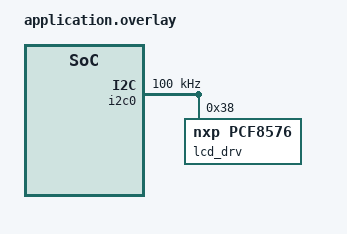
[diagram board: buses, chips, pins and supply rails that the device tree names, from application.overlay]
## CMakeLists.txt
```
cmake_minimum_required(VERSION 3.20.0)
if (NOT CMAKE_BUILD_TYPE)
    set(CMAKE_BUILD_TYPE ZDebug)
endif()
# Point to the build type-specific config file
set(CONF_FILE "prj.${CMAKE_BUILD_TYPE}.conf")

list(APPEND ZEPHYR_EXTRA_MODULES  ${CMAKE_CURRENT_SOURCE_DIR}/lcd)

set(DTC_OVERLAY_FILE  "application.overlay lcd.overlay")

find_package(Zephyr REQUIRED HINTS $ENV{ZEPHYR_BASE})

project(lcdtest)

target_sources(app PRIVATE src/main.c)
```

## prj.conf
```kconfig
CONFIG_I2C=y
CONFIG_LCD=y
CONFIG_PCF8576=y
#CONFIG_ZTEST=y
CONFIG_ZTEST_NEW_API=y
```

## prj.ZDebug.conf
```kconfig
CONFIG_I2C=y
CONFIG_LCD=y
CONFIG_PCF8576=y
#CONFIG_ZTEST=y
#CONFIG_ZTEST_NEW_API=y
CONFIG_UART_CONSOLE=y
# Optimize for debug
CONFIG_DEBUG_OPTIMIZATIONS=y
CONFIG_LOG=y
```

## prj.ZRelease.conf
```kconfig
CONFIG_I2C=y
CONFIG_LCD=y
CONFIG_PCF8576=y
#CONFIG_ZTEST=y
#CONFIG_ZTEST_NEW_API=y
#CONFIG_UART_CONSOLE=y
# Optimize for speed. See https://docs.zephyrproject.org/latest/reference/kconfig/choice_471.html#choice-471 for other options
CONFIG_SPEED_OPTIMIZATIONS=y
# Disable assertions in the Zephyr Kernel. Improves execution speed and prevents a CMake configure warning. See https://docs.zephyrproject.org/latest/reference/kconfig/CONFIG_ASSERT.html
CONFIG_ASSERT=n
```

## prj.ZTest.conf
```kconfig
CONFIG_I2C=y
CONFIG_LCD=y
CONFIG_PCF8576=y
CONFIG_ZTEST=y
CONFIG_ZTEST_NEW_API=y
CONFIG_UART_CONSOLE=y
# Optimize for debug
CONFIG_DEBUG_OPTIMIZATIONS=y
```

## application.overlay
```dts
/ {
    lcd_display: lcd{
        compatible = "lcd-lowsegment";
    };
};

&i2c0 { /* SDA P0.26, SCL P0.27*/
    clock-frequency = <I2C_BITRATE_STANDARD>;
    lcd_drv: pcf8576@38 {
        compatible = "nxp,pcf8576";
        reg = <0x38>;
        backplane-mux = <4>;
        powersave-mode;
        lcd-bias = "1_3";
        sub-address = <0>;
        lcd = <&lcd_display>;
    };
};
```

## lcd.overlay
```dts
&lcd_display {
  seg_1a: s1  { segment = <3 1>; };
  seg_1b: s2  { segment = <2 1>; };
  seg_1c: s3  { segment = <1 1>; };
  seg_1d: s4  { segment = <0 0>; };
  seg_1e: s5  { segment = <1 0>; };
  seg_1f: s6  { segment = <3 0>; };
  seg_1g: s7  { segment = <2 0>; }; 
  seg_1dp:s8  { segment = <0 1>; };
  
  seg_2a: s9  { segment = <3 3>; };
  seg_2b: s10 { segment = <2 3>; };
  seg_2c: s11 { segment = <1 3>; };
  seg_2d: s12 { segment = <0 2>; };
  seg_2e: s13 { segment = <1 2>; };
  seg_2f: s14 { segment = <3 2>; };
  seg_2g: s15 { segment = <2 2>; };
  seg_2dp:s16 { segment = <0 3>; };
 
  seg_3a: s17 { segment = <3 5>; };
  seg_3b: s18 { segment = <2 5>; };
  seg_3c: s19 { segment = <1 5>; };
  seg_3d: s20 { segment = <0 4>; };
  seg_3e: s21 { segment = <1 4>; };
  seg_3f: s22 { segment = <3 4>; };
  seg_3g: s23 { segment = <2 4>; };
  seg_3dp:s24 { segment = <0 5>; };
  
  seg_4a: s25 { segment = <3 7>; };
  seg_4b: s26 { segment = <2 7>; };
  seg_4c: s27 { segment = <1 7>; };
  seg_4d: s28 { segment = <0 6>; };
  seg_4e: s29 { segment = <1 6>; };
  seg_4f: s30 { segment = <3 6>; };
  seg_4g: s31 { segment = <2 6>; };   
    
  seg_5a: s45{ segment = <0 23>; };
  seg_5b: s46{ segment = <1 23>; };
  seg_5c: s47{ segment = <2 23>; };
  seg_5d: s48{ segment = <3 24>; };
  seg_5e: s49{ segment = <2 24>; };
  seg_5f: s50{ segment = <0 24>; };
  seg_5g: s51{ segment = <1 24>; };
  seg_5dp:s52{ segment = <3 23>; };
  
  seg_6a: s53 { segment = <0 21>; };
  seg_6b: s54 { segment = <1 21>; };
  seg_6c: s55 { segment = <2 21>; };
  seg_6d: s56 { segment = <3 22>; };
  seg_6e: s57 { segment = <2 22>; };
  seg_6f: s58 { segment = <0 22>; };
  seg_6g: s59 { segment = <1 22>; };
  seg_6dp:s60 { segment = <3 21>; };
  
  seg_7a: s61 { segment = <0 19>; };
  seg_7b: s62 { segment = <1 19>; };
  seg_7c: s63 { segment = <2 19>; };
  seg_7d: s64 { segment = <3 20>; };
  seg_7e: s65 { segment = <2 20>; };
  seg_7f: s66 { segment = <0 20>; };
  seg_7g: s67 { segment = <1 20>; };
  seg_7dp:s68 { segment = <3 19>; };
  
  seg_8a: s69 { segment = <0 15>; };
  seg_8b: s70 { segment = <1 15>; };
  seg_8c: s71 { segment = <2 15>; };
  seg_8d: s72 { segment = <3 16>; };
  seg_8e: s73 { segment = <2 16>; };
  seg_8f: s74 { segment = <0 16>; };
  seg_8g: s75 { segment = <1 16>; };
  seg_8dp:s76 { segment = <3 15>; };
  
  seg_9a: s77 { segment = <0 13>; };
  seg_9b: s78 { segment = <1 13>; };
  seg_9c: s79 { segment = <2 13>; };
  seg_9d: s80 { segment = <3 14>; };
  seg_9e: s81 { segment = <2 14>; };
  seg_9f: s82 { segment = <0 14>; };
  seg_9g: s83 { segment = <1 14>; };
  seg_9dp:s84 { segment = <3 13>; };
  
  seg_10a: s85  { segment = <0 11>; };
  seg_10b: s86  { segment = <1 11>; };
  seg_10c: s87  { segment = <2 11>; };
  seg_10d: s88  { segment = <3 12>; };
  seg_10e: s89  { segment = <2 12>; };
  seg_10f: s90  { segment = <0 12>; };
  seg_10g: s91  { segment = <1 12>; };

  seg_col1: s32{ segment = <0 7>; };
  seg_col2: s33{ segment = <0 8>; };
  seg_col3: s34{ segment = <1 8>; };
  
  seg_t1: s35{ segment = <2 8>; };
  
  seg_w1: s36{ segment = <3 8>; };
  seg_w2: s37{ segment = <3 9>; };
  seg_w3: s38{ segment = <2 9>; };
  seg_w4: s39{ segment = <1 9>; };
  seg_w5: s40{ segment = <0 9>; };
  
  seg_l1: s41{ segment = <0 10>; };
  seg_l2: s42{ segment = <1 10>; };
  seg_l3: s43{ segment = <2 10>; };
  seg_l4: s44{ segment = <3 10>; };

  seg_s1: s92   { segment = <3 18>; };
  seg_s2: s93   { segment = <2 18>; };
  seg_s3: s94   { segment = <1 18>; };
  seg_s4: s95   { segment = <0 18>; };
  seg_s5: s96   { segment = <0 17>; };
  seg_s6: s97   { segment = <1 17>; };
  seg_s7: s98   { segment = <2 17>; };
  seg_s8: s99   { segment = <3 17>; };
  seg_s9: s100  { segment = <3 11>; };
  
  seg_dp_none: s999  { segment = <0 40>; }; //40 is out of the normal range 0..39
  
  sign_defs:    sig  { compatible = "lcd-sign"; 
                        sign_repair:          sig1 { sign = <&seg_t1>;};
                        sign_col_s:           sig2 { sign = <&seg_col1>;};
                        sign_col_l1:          sig3 { sign = <&seg_col2>;};
                        sign_col_l2:          sig4 { sign = <&seg_col3>;};
                        sign_mv:              sig5 { sign = <&seg_s1>;};
                        sign_nm:              sig6 { sign = <&seg_s2>;};
                        sign_kg:              sig7 { sign = <&seg_s3>;};
                        sign_g:               sig8 { sign = <&seg_s4>;};
                        sign_mm:              sig9 { sign = <&seg_s5>;};
                        sign_microepsilon:    sig10 { sign = <&seg_s6>;};
                        sign_kpa:             sig11 { sign = <&seg_s7>;};
                        sign_mpa:             sig12 { sign = <&seg_s8>;};
                        sign_degc:            sig13 { sign = <&seg_s9>;};  
                        };

  bar_antenna:  bar1 { compatible = "lcd-bar"; 
                        b1 { bar = <&seg_l1>;};
                        b2 { bar = <&seg_l2>;};
                        b3 { bar = <&seg_l3>;};
                        b4 { bar = <&seg_l4>;};  
                        };
  bar_battery:  bar2 { compatible = "lcd-bar"; 
                        b1 { bar = <&seg_w1>;};
                        b2 { bar = <&seg_w5>;};
                        b3 { bar = <&seg_w4>;};
                        b4 { bar = <&seg_w3>;};
                        b5 { bar = <&seg_w2>;};  
                        };
  
  digit1:       d1   { compatible = "lcd-digit"; 
                        digit = <&seg_1a &seg_1b &seg_1c &seg_1d &seg_1e &seg_1f &seg_1g &seg_1dp>;};

  digit2:       d2   { compatible = "lcd-digit"; 
                        digit = <&seg_2a &seg_2b &seg_2c &seg_2d &seg_2e &seg_2f &seg_2g &seg_2dp>;};

  digit3:       d3   { compatible = "lcd-digit"; 
                        digit = <&seg_3a &seg_3b &seg_3c &seg_3d &seg_3e &seg_3f &seg_3g &seg_3dp>;};

  digit4:       d4   { compatible = "lcd-digit"; 
                        digit = <&seg_4a &seg_4b &seg_4c &seg_4d &seg_4e &seg_4f &seg_4g &seg_dp_none>;};

  digit5:       d5   { compatible = "lcd-digit"; 
                        digit = <&seg_5a &seg_5b &seg_5c &seg_5d &seg_5e &seg_5f &seg_5g &seg_5dp>;};

  digit6:       d6   { compatible = "lcd-digit"; 
                        digit = <&seg_6a &seg_6b &seg_6c &seg_6d &seg_6e &seg_6f &seg_6g &seg_6dp>;};

  digit7:       d7   { compatible = "lcd-digit"; 
                        digit = <&seg_7a &seg_7b &seg_7c &seg_7d &seg_7e &seg_7f &seg_7g &seg_7dp>;};

  digit8:       d8   { compatible = "lcd-digit"; 
                        digit = <&seg_8a &seg_8b &seg_8c &seg_8d &seg_8e &seg_8f &seg_8g &seg_8dp>;};

  digit9:       d9   { compatible = "lcd-digit"; 
                        digit = <&seg_9a &seg_9b &seg_9c &seg_9d &seg_9e &seg_9f &seg_9g &seg_9dp>;};

  digit10:      d10  { compatible = "lcd-digit"; 
                        digit = <&seg_10a &seg_10b &seg_10c &seg_10d &seg_10e &seg_10f &seg_10g &seg_dp_none>;};

  
  num_small: num1 { compatible = "lcd-number"; 
                        n1 {number = <&digit1>;};
                        n2 {number = <&digit2>;};
                        n3 {number = <&digit3>;};
                        n4 {number = <&digit4>;};  
                        };
  num_large: num2 { compatible = "lcd-number"; 
                        n1 {number = <&digit5>;};
                        n2 {number = <&digit6>;};
                        n3 {number = <&digit7>;};
                        n4 {number = <&digit8>;};
                        n5 {number = <&digit9>;};
                        n6 {number = <&digit10>;};  
                        };
};
```

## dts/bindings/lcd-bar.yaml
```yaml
#  Copyright (c) 2022 Karoly Molnar
#  SPDX-License-Identifier: Apache-2.0

description: This binding gives the indicator bar representation of the LCD controller

compatible: "lcd-bar"

child-binding:
    description: LCD segment definitions for indicator bars
    properties:
        bar:
           type: phandle
           required: true
```

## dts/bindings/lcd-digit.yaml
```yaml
#  Copyright (c) 2022 Karoly Molnar
#  SPDX-License-Identifier: Apache-2.0

description: This binding gives single digit representation of the LCD controller

compatible: "lcd-digit"

properties:
  digit:
     type: phandles
     required: true
```

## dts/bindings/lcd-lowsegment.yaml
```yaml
#  Copyright (c) 2022 Karoly Molnar
#  SPDX-License-Identifier: Apache-2.0

description: This binding gives a base representation of the PCF8676 LCD controller

compatible: "lcd-lowsegment"

child-binding:
    description: LCD segment definitions for segments
    properties:
        segment:
           type: array
           required: false
        bar_signs:
           type: array
           required: false
```

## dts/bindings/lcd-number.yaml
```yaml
#  Copyright (c) 2022 Karoly Molnar
#  SPDX-License-Identifier: Apache-2.0

description: This binding gives multiple-digit number representation of the LCD controller

compatible: "lcd-number"

child-binding:
    description: LCD segment definitions for number digits
    properties:
        number:
           type: phandle
           required: true
```

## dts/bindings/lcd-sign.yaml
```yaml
#  Copyright (c) 2022 Karoly Molnar
#  SPDX-License-Identifier: Apache-2.0

description: This binding gives the individual sign representation of the LCD controller

compatible: "lcd-sign"

child-binding:
    description: LCD segment definitions for signs
    properties:
        sign:
           type: phandle
           required: false
        
```

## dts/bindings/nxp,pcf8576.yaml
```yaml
#  Copyright (c) 2022 Karoly Molnar
#  SPDX-License-Identifier: Apache-2.0

description: This binding gives a base representation of the PCF8676 LCD controller

compatible: "nxp,pcf8576"

include: i2c-device.yaml
properties:
    backplane-mux:
      type: int
      required: false
      description: LCD Drive Mode [1..4]
      default: 4
    sub-address:
      type: int
      required: false
      description: Device sub-address A[0:2]
      default: 0
    powersave-mode:
      type: boolean
      required: false
      description: Power saving mode enabled
    lcd-bias:
      type: string
      required: false
      description: LCD BIAS 1/3 or 1/2
      enum:
         - "1_3"
         - "1_2"
      default: "1_3"
    lcd:
      type: phandle
      required: false
      description: LCD display that is driven
```

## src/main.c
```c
/*
* Copyright (c) 2022 Karoly Molnar
* SPDX-License-Identifier: Apache-2.0
 */

#include <zephyr/kernel.h>

#include <pcf8576.h>
#include <zephyr/device.h>
#include <zephyr/logging/log.h>
#if defined(CONFIG_ZTEST)
#include <zephyr/ztest.h>
#include <string.h>
#endif
LOG_MODULE_REGISTER(lcdtest);

#define LCD_DEV_NODELABEL DT_NODELABEL(lcd_drv)

pcf8576_num_declare(num_small);
pcf8576_num_define(num_small);
pcf8576_num_declare(num_large);
pcf8576_num_define(num_large);

pcf8576_bar_declare(bar_battery);
pcf8576_bar_define(bar_battery);

pcf8576_bar_declare(bar_antenna);
pcf8576_bar_define(bar_antenna);

#if (CONFIG_ZTEST != 1)
void main(void) {
  LOG_INF("Demo started");

  const struct device *dev = DEVICE_DT_GET(LCD_DEV_NODELABEL);
  if (dev == NULL) {
    LOG_ERR("Could not get PCF8576 device\n");
    return;
  } else {
    LOG_INF("PCF8576 device found\n");
  }
  if (!device_is_ready(dev)) {
    LOG_ERR("PCF8576 device is not ready!\n");
    return;
  }else {
    LOG_INF("PCF8576 device is ready\n");
  }

  double countlarge = -3.09;
  int counsmall = 999;
  while (1) {
    pcf8576_num(dev, num_large, countlarge);
    pcf8576_num(dev, num_small, (double)counsmall--);
    countlarge = countlarge + 1.07;
    pcf8576_flush(dev);
    k_msleep(100);
  }
}
#else
ZTEST_SUITE(lcd_tests, NULL, NULL, NULL, NULL, NULL);
/**
 * @brief Test Asserts
 *
 * This test verifies various assert macros provided by ztest.
 *
 */
ZTEST(lcd_tests, test_init)
{
  const struct device *dev = DEVICE_DT_GET(LCD_DEV_NODELABEL);
  zassert_not_null(dev, "LCD dev struct was null");
  zassert_true(device_is_ready(dev), "LCD device not ready");
  size_t num_large_arr_len = sizeof(digitarray_num_large);
  zassert_equal(6,num_large_arr_len, "array size mismatch!");
}
ZTEST(lcd_tests, test_large_num_int_pos)
{
  const struct device *dev = DEVICE_DT_GET(LCD_DEV_NODELABEL);
  double countlarge = 1;
  pcf8576_num(dev, num_large, countlarge);
  uint8_t ref[] = {30,30,30,30,30,1};
  zassert_mem_equal(digitarray_num_large, ref, 6,"Mismatch in LCD memory");


  countlarge = 1984;
  pcf8576_num(dev, num_large, countlarge);
  ref[0] = 30;
  ref[1] = 30;
  ref[2] = 1;
  ref[3] = 9;
  ref[4] = 8;
  ref[5] = 4;
  zassert_mem_equal(digitarray_num_large, ref, 6,"Mismatch in LCD memory");

  countlarge = 123456;
  pcf8576_num(dev, num_large, countlarge);
  ref[0] = 1;
  ref[1] = 2;
  ref[2] = 3;
  ref[3] = 4;
  ref[4] = 5;
  ref[5] = 6;
  zassert_mem_equal(digitarray_num_large, ref, 6, "Mismatch in LCD memory");

  countlarge = 0;
  pcf8576_num(dev, num_large, countlarge);
  ref[0] = 30;
  ref[1] = 30;
  ref[2] = 30;
  ref[3] = 30;
  ref[4] = 30;
  ref[5] = 0;

  zassert_mem_equal(digitarray_num_large, ref, 6, "Mismatch in LCD values");

}

ZTEST(lcd_tests, test_large_num_int_neg)
{
  const struct device *dev = DEVICE_DT_GET(LCD_DEV_NODELABEL);
  memset(digitarray_num_large, 0, 6);
  double countlarge = -1;
  pcf8576_num(dev, num_large, countlarge);
  uint8_t ref[6]={30,30,30,30,10,1};
  zassert_mem_equal(digitarray_num_large, ref, 6, "Mismatch in LCD values");

  countlarge = -1984;
  pcf8576_num(dev, num_large, countlarge);
  ref[0] = 30;
  ref[1] = 10;
  ref[2] = 1;
  ref[3] = 9;
  ref[4] = 8;
  ref[5] = 4;

  zassert_mem_equal(digitarray_num_large, ref, 6, "Mismatch in LCD values");

  countlarge = -0;
  pcf8576_num(dev, num_large, countlarge);
  ref[0] = 30;
  ref[1] = 30;
  ref[2] = 30;
  ref[3] = 30;
  ref[4] = 30;
  ref[5] = 0;

  zassert_mem_equal(digitarray_num_large, ref, 6, "Mismatch in LCD values");

  countlarge = -19845;
  pcf8576_num(dev, num_large, countlarge);
  ref[0] = 10;
  ref[1] = 1;
  ref[2] = 9;
  ref[3] = 8;
  ref[4] = 4;
  ref[5] = 5;

  zassert_mem_equal(digitarray_num_large, ref, 6, "Mismatch in LCD values");

}

ZTEST(lcd_tests, test_large_num_float_pos)
{
  const struct device *dev = DEVICE_DT_GET(LCD_DEV_NODELABEL);
  double countlarge = 1.2;
  pcf8576_num(dev, num_large, countlarge);
  uint8_t ref[] = {30,30,30,30,21,2};
  zassert_mem_equal(digitarray_num_large, ref, 6,"Mismatch in LCD memory");

  countlarge = 1984.1;
  pcf8576_num(dev, num_large, countlarge);
  ref[0] = 30;
  ref[1] = 1;
  ref[2] = 9;
  ref[3] = 8;
  ref[4] = 24;
  ref[5] = 1;
  zassert_mem_equal(digitarray_num_large, ref, 6,"Mismatch in LCD memory");

  countlarge = 0.1;
  pcf8576_num(dev, num_large, countlarge);
  ref[0] = 30;
  ref[1] = 30;
  ref[2] = 30;
  ref[3] = 30;
  ref[4] = 20;
  ref[5] = 1;
  zassert_mem_equal(digitarray_num_large, ref, 6,"Mismatch in LCD memory");

  countlarge = -0.1;
  pcf8576_num(dev, num_large, countlarge);
  ref[0] = 30;
  ref[1] = 30;
  ref[2] = 30;
  ref[3] = 10;
  ref[4] = 20;
  ref[5] = 1;
  zassert_mem_equal(digitarray_num_large, ref, 6,"Mismatch in LCD memory");

  countlarge = -0.002;
  pcf8576_num(dev, num_large, countlarge);
  ref[0] = 30;
  ref[1] = 10;
  ref[2] = 20;
  ref[3] = 0;
  ref[4] = 0;
  ref[5] = 2;
  zassert_mem_equal(digitarray_num_large, ref, 6,"Mismatch in LCD memory");

}



ZTEST(lcd_tests, test_large_num_ovf)
{
  const struct device *dev = DEVICE_DT_GET(LCD_DEV_NODELABEL);
  memset(digitarray_num_large, 0, 6);
  double countlarge = 1234567;
  pcf8576_num(dev, num_large, countlarge);
  uint8_t ref[6]={10,10,10,10,10,10};
  zassert_mem_equal(digitarray_num_large, ref, 6, "Mismatch in LCD values");

  countlarge = -123456;
  pcf8576_num(dev, num_large, countlarge);

  countlarge = -123456.8;
  pcf8576_num(dev, num_large, countlarge);

}

#endif
```
